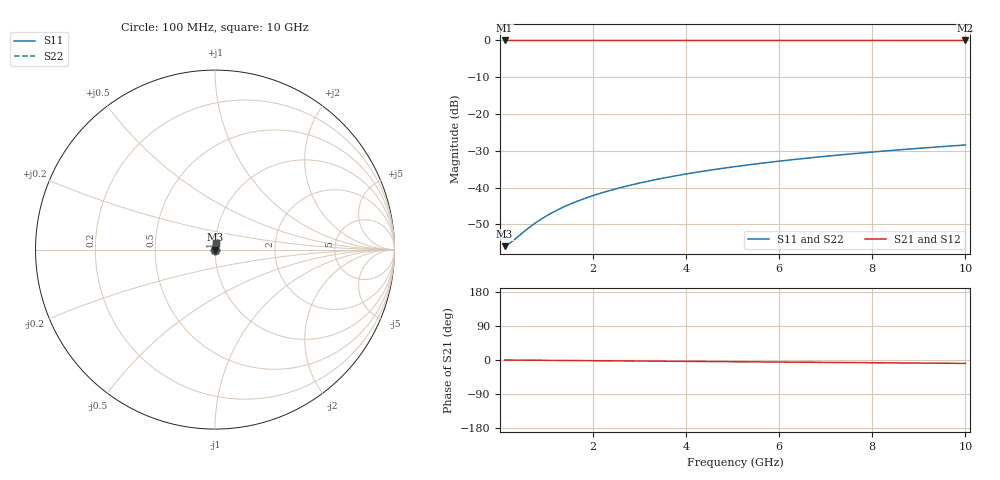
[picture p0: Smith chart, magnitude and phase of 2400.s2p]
# Hz S RI R 50.00
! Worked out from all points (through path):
!   100 points, 100 MHz to 10 GHz, reference 50 ohm
!   highest |S21| = -0.01 dB at 100 MHz (marker M1); lowest = 0.0 dB at 10 GHz (marker M2)
!   group delay of S21, straight-line fit = 2.5 ps
!   lowest |S11| = -55.9 dB at 100 MHz (marker M3), VSWR 1.00, Z = 50.2 + j0.038 ohm
!   |S11| at or under -10 dB: start of sweep to end of sweep
!   |S22| runs from -55.9 to -28.4 dB; largest |S21 - S12| = 0
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1e8  0.00156 0.000379  0.9984 -0.00156  0.9984 -0.00156  0.00156 0.000379
2e8  0.00157 0.000757  0.9984 -0.00313  0.9984 -0.00313  0.00157 0.000757
3e8  0.00158 0.00114  0.9984 -0.00469  0.9984 -0.00469  0.00158 0.00114
5e8  0.0016 0.00189  0.9984 -0.00782  0.9984 -0.00782  0.0016 0.00189
7e8  0.00162 0.00265  0.9983 -0.0109  0.9983 -0.0109  0.00162 0.00265
8e8  0.00163 0.00303  0.9983 -0.0125  0.9983 -0.0125  0.00163 0.00303
1e9  0.00166 0.00379  0.9983 -0.0156  0.9983 -0.0156  0.00166 0.00379
1.2e9  0.00169 0.00454  0.9982 -0.0188  0.9982 -0.0188  0.00169 0.00454
1.4e9  0.00173 0.0053  0.9981 -0.0219  0.9981 -0.0219  0.00173 0.0053
1.6e9  0.00177 0.00606  0.998 -0.025  0.998 -0.025  0.00177 0.00606
1.8e9  0.00181 0.00681  0.9979 -0.0281  0.9979 -0.0281  0.00181 0.00681
2.1e9  0.00189 0.00794  0.9978 -0.0328  0.9978 -0.0328  0.00189 0.00794
2.5e9  0.002 0.00945  0.9975 -0.0391  0.9975 -0.0391  0.002 0.00945
2.9e9  0.00214 0.011  0.9972 -0.0453  0.9972 -0.0453  0.00214 0.011
3.4e9  0.00233 0.0128  0.9968 -0.0531  0.9968 -0.0531  0.00233 0.0128
4.2e9  0.0027 0.0158  0.996 -0.0656  0.996 -0.0656  0.0027 0.0158
5.1e9  0.00321 0.0192  0.9949 -0.0797  0.9949 -0.0797  0.00321 0.0192
5.9e9  0.00374 0.0222  0.9937 -0.0921  0.9937 -0.0921  0.00374 0.0222
6.7e9  0.00434 0.0252  0.9924 -0.1046  0.9924 -0.1046  0.00434 0.0252
7.5e9  0.00502 0.0281  0.9909 -0.117  0.9909 -0.117  0.00502 0.0281
8.4e9  0.00587 0.0314  0.9891 -0.131  0.9891 -0.131  0.00587 0.0314
1e10  0.00761 0.0372  0.9852 -0.1558  0.9852 -0.1558  0.00761 0.0372
